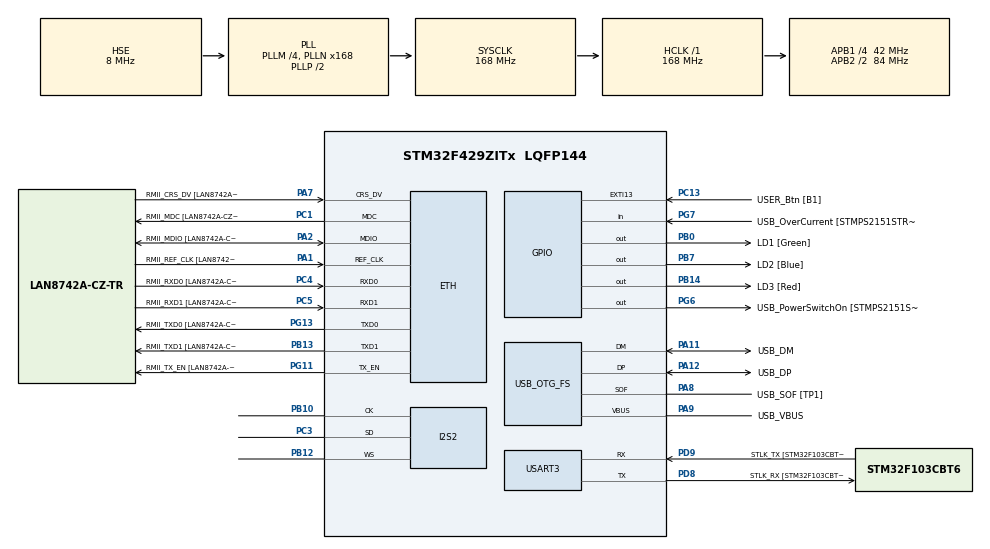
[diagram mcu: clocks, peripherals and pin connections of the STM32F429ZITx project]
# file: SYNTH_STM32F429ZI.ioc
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Dma.Request0=SPI2_TX
Dma.SPI2_TX.0.Direction=DMA_MEMORY_TO_PERIPH
Dma.SPI2_TX.0.FIFOMode=DMA_FIFOMODE_DISABLE
Dma.SPI2_TX.0.Instance=DMA1_Stream4
Dma.SPI2_TX.0.MemDataAlignment=DMA_MDATAALIGN_HALFWORD
Dma.SPI2_TX.0.MemInc=DMA_MINC_ENABLE
Dma.SPI2_TX.0.Mode=DMA_CIRCULAR
Dma.SPI2_TX.0.PeriphDataAlignment=DMA_PDATAALIGN_HALFWORD
Dma.SPI2_TX.0.PeriphInc=DMA_PINC_DISABLE
Dma.SPI2_TX.0.Priority=DMA_PRIORITY_LOW
ETH.MediaInterface=HAL_ETH_RMII_MODE
ETH.PHY_Name=LAN8742A_PHY_ADDRESS
ETH.PHY_Value=0
ETH.PhyAddress=0
FREERTOS.Tasks01=defaultTask,24,128,StartDefaultTask,Default,NULL,Dynamic,NULL,NULL
FREERTOS.configCHECK_FOR_STACK_OVERFLOW=2
FREERTOS.configENABLE_FPU=0
FREERTOS.configTOTAL_HEAP_SIZE=32768
FREERTOS.configUSE_NEWLIB_REENTRANT=1
I2S2.AudioFreq=I2S_AUDIOFREQ_44K
I2S2.DataFormat=I2S_DATAFORMAT_16B
I2S2.ErrorAudioFreq=0.26 %
I2S2.FullDuplexMode=I2S_FULLDUPLEXMODE_DISABLE
I2S2.Instance=SPI$Index
I2S2.RealAudioFreq=44.117 KHz
I2S2.VirtualMode=I2S_MODE_MASTER
Mcu.Family=STM32F4
Mcu.Name=STM32F429ZITx
Mcu.Package=LQFP144
NVIC.DMA1_Stream4_IRQn=true\:5\:0\:false\:false\:true\:true\:false\:true\:true
NVIC.EXTI15_10_IRQn=true\:5\:0\:false\:false\:true\:true\:true\:true\:true
NVIC.PriorityGroup=NVIC_PRIORITYGROUP_4
NVIC.TIM6_DAC_IRQn=true\:15\:0\:false\:false\:true\:false\:false\:true\:true
NVIC.TimeBase=TIM6_DAC_IRQn
NVIC.TimeBaseIP=TIM6
PA1.GPIO_Label=RMII_REF_CLK [LAN8742A-CZ-TR_REFCLK0]
PA1.Mode=RMII
PA1.Signal=ETH_REF_CLK
PA10.GPIO_Label=USB_ID
PA10.Signal=USB_OTG_FS_ID
PA11.GPIO_Label=USB_DM
PA11.Mode=Device_Only
PA11.Signal=USB_OTG_FS_DM
PA12.GPIO_Label=USB_DP
PA12.Mode=Device_Only
PA12.Signal=USB_OTG_FS_DP
PA13.GPIO_Label=TMS
PA13.Mode=Serial_Wire
PA13.Signal=SYS_JTMS-SWDIO
PA14.GPIO_Label=TCK
PA14.Mode=Serial_Wire
PA14.Signal=SYS_JTCK-SWCLK
PA2.GPIO_Label=RMII_MDIO [LAN8742A-CZ-TR_MDIO]
PA2.Mode=RMII
PA2.Signal=ETH_MDIO
PA7.GPIO_Label=RMII_CRS_DV [LAN8742A-CZ-TR_CRS_DV]
PA7.Mode=RMII
PA7.Signal=ETH_CRS_DV
PA8.GPIO_Label=USB_SOF [TP1]
PA8.Mode=Activate_SOF_FS
PA8.Signal=USB_OTG_FS_SOF
PA9.GPIO_Label=USB_VBUS
PA9.Mode=Activate_VBUS
PA9.Signal=USB_OTG_FS_VBUS
PB0.GPIO_Label=LD1 [Green]
PB0.Signal=GPIO_Output
PB10.Mode=Half_Duplex_Master
PB10.Signal=I2S2_CK
PB12.Mode=Half_Duplex_Master
PB12.Signal=I2S2_WS
PB13.GPIO_Label=RMII_TXD1 [LAN8742A-CZ-TR_TXD1]
PB13.Mode=RMII
PB13.Signal=ETH_TXD1
PB14.GPIO_Label=LD3 [Red]
PB14.Signal=GPIO_Output
PB7.GPIO_Label=LD2 [Blue]
PB7.Signal=GPIO_Output
PC1.GPIO_Label=RMII_MDC [LAN8742A-CZ-TR_MDC]
PC1.Mode=RMII
PC1.Signal=ETH_MDC
PC13.GPIO_Label=USER_Btn [B1]
PC13.Signal=GPXTI13
PC14/OSC32_IN.Mode=LSE-External-Oscillator
PC14/OSC32_IN.Signal=RCC_OSC32_IN
PC15/OSC32_OUT.Mode=LSE-External-Oscillator
PC15/OSC32_OUT.Signal=RCC_OSC32_OUT
PC3.Mode=Half_Duplex_Master
PC3.Signal=I2S2_SD
PC4.GPIO_Label=RMII_RXD0 [LAN8742A-CZ-TR_RXD0]
PC4.Mode=RMII
PC4.Signal=ETH_RXD0
PC5.GPIO_Label=RMII_RXD1 [LAN8742A-CZ-TR_RXD1]
PC5.Mode=RMII
PC5.Signal=ETH_RXD1
PD8.GPIO_Label=STLK_RX [STM32F103CBT6_PA3]
PD8.Mode=Asynchronous
PD8.Signal=USART3_TX
PD9.GPIO_Label=STLK_TX [STM32F103CBT6_PA2]
PD9.Mode=Asynchronous
PD9.Signal=USART3_RX
PG11.GPIO_Label=RMII_TX_EN [LAN8742A-CZ-TR_TXEN]
PG11.Mode=RMII
PG11.Signal=ETH_TX_EN
PG13.GPIO_Label=RMII_TXD0 [LAN8742A-CZ-TR_TXD0]
PG13.Mode=RMII
PG13.Signal=ETH_TXD0
PG6.GPIO_Label=USB_PowerSwitchOn [STMPS2151STR_EN]
PG6.Signal=GPIO_Output
PG7.GPIO_Label=USB_OverCurrent [STMPS2151STR_FAULT]
PG7.Signal=GPIO_Input
PH0/OSC_IN.GPIO_Label=MCO [STM32F103CBT6_PA8]
PH0/OSC_IN.Mode=HSE-External-Clock-Source
PH0/OSC_IN.Signal=RCC_OSC_IN
PH1/OSC_OUT.Mode=HSE-External-Clock-Source
PH1/OSC_OUT.Signal=RCC_OSC_OUT
ProjectManager.HeapSize=0x200
ProjectManager.StackSize=0x400
ProjectManager.TargetToolchain=STM32CubeIDE
RCC.48MHZClocksFreq_Value=48000000
RCC.AHBFreq_Value=168000000
RCC.APB1CLKDivider=RCC_HCLK_DIV4
RCC.APB1Freq_Value=42000000
RCC.APB1TimFreq_Value=84000000
RCC.APB2CLKDivider=RCC_HCLK_DIV2
RCC.APB2Freq_Value=84000000
RCC.APB2TimFreq_Value=168000000
RCC.CortexFreq_Value=168000000
RCC.HCLKFreq_Value=168000000
RCC.HSE_VALUE=8000000
RCC.HSI_VALUE=16000000
RCC.PLLM=4
RCC.PLLMUL=RCC_PLL_MUL9
RCC.PLLN=168
RCC.PLLQ=7
RCC.PRESCALERUSB=RCC_USBCLKSOURCE_PLL_DIV1_5
RCC.SYSCLKFreq_VALUE=168000000
RCC.SYSCLKSource=RCC_SYSCLKSOURCE_PLLCLK
RCC.SYSCLKSourceVirtual=RCC_SYSCLKSOURCE_PLLCLK
RCC.USBFreq_Value=48000000
RCC.VCOOutputFreq_Value=336000000
USART3.VirtualMode=VM_ASYNC
USB_OTG_FS.VirtualMode=Device_Only
VP_FREERTOS_VS_CMSIS_V2.Mode=CMSIS_V2
VP_SYS_VS_tim6.Mode=TIM6
board=NUCLEO-F429ZI

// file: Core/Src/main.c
/* USER CODE BEGIN Header */
/**
 ******************************************************************************
 * @file           : main.c
 * @brief          : Main program body
 ******************************************************************************
 * @attention
 *
 * Copyright (c) 2026 STMicroelectronics.
 * All rights reserved.
 *
 * This software is licensed under terms that can be found in the LICENSE file
 * in the root directory of this software component.
 * If no LICENSE file comes with this software, it is provided AS-IS.
 *
 ******************************************************************************
 */
/* USER CODE END Header */
#include "main.h"
#include "string.h"
#include "cmsis_os.h"

/* USER CODE BEGIN Includes */
#include "semphr.h" // 세마포어 사용을 위해 필수
#include "queue.h"  // 큐 사용을 위해 필수
#include "timers.h" // ★ 필수: 타이머 헤더 추가

#include <math.h> // sin 함수 사용
#include "FreeRTOS.h"
#include "task.h" // Native API 사용을 위해 필수
/* USER CODE END Includes */

ETH_TxPacketConfig TxConfig;
ETH_DMADescTypeDef DMARxDscrTab[ETH_RX_DESC_CNT]; /* Ethernet Rx DMA Descriptors */
ETH_DMADescTypeDef DMATxDscrTab[ETH_TX_DESC_CNT]; /* Ethernet Tx DMA Descriptors */

ETH_HandleTypeDef heth;

I2S_HandleTypeDef hi2s2;
DMA_HandleTypeDef hdma_spi2_tx;

UART_HandleTypeDef huart3;

PCD_HandleTypeDef hpcd_USB_OTG_FS;

/* Definitions for defaultTask */
osThreadId_t defaultTaskHandle;
const osThreadAttr_t defaultTask_attributes = { .name = "defaultTask",
		.stack_size = 128 * 4, .priority = (osPriority_t) osPriorityNormal, };
/* USER CODE BEGIN PV */
#define I2S_BUFFER_SIZE 100
#define PI 3.14159265f

// 전역 변수로 선언해야 Task에서도 접근 가능합니다.
int16_t sine_buffer[I2S_BUFFER_SIZE];
TaskHandle_t xAudioTaskHandle = NULL;

QueueHandle_t xLedQueue;
SemaphoreHandle_t xButtonSemaphore;
TimerHandle_t xDebounceTimer; // ★ 추가: 디바운싱 타이머 핸들

/* 큐에 넣을 메시지 구조체 정의 */
typedef struct {
	uint8_t command;    // 1: LED ON, 2: LED OFF, 3: TOGGLE
	uint32_t timestamp; // 눌린 시간
} LedMessage_t;
/* USER CODE END PV */

void SystemClock_Config(void);
static void MX_GPIO_Init(void);
static void MX_DMA_Init(void);
static void MX_ETH_Init(void);
static void MX_USART3_UART_Init(void);
static void MX_USB_OTG_FS_PCD_Init(void);
static void MX_I2S2_Init(void);
void StartDefaultTask(void *argument);

/* USER CODE BEGIN PFP */
void MyButton_TaskFunc(void *argument); // 버튼 처리할 함수
void MyLed_TaskFunc(void *argument);    // LED 켤 함수
void DebounceCallback(TimerHandle_t xTimer); // ★ 추가: 콜백 함수 선언
/* USER CODE END PFP */

/* USER CODE BEGIN 0 */
void HAL_GPIO_EXTI_Callback(uint16_t GPIO_Pin) {
	if (GPIO_Pin == GPIO_PIN_13) {
		BaseType_t xHigherPriorityTaskWoken = pdFALSE;

		// ★ 수정: 세마포어 대신 타이머를 시작(또는 리셋)시킴
		// xTimerStartFromISR은 타이머가 돌고 있으면 0초로 리셋하고,
		// 멈춰 있으면 시작시킵니다. (채터링 방지 핵심)
		if (xDebounceTimer != NULL) {
			xTimerStartFromISR(xDebounceTimer, &xHigherPriorityTaskWoken);
		}

		portYIELD_FROM_ISR(xHigherPriorityTaskWoken);
	}
}

void DebounceCallback(TimerHandle_t xTimer) {
	// (선택 사항) 정말로 눌려있는지 핀 상태를 한 번 더 확인하면 더 확실합니다.
	// Nucleo-144 F429ZI의 PC13 버튼은 누르면 High(1) 상태가 됩니다.
	if (HAL_GPIO_ReadPin(GPIOC, GPIO_PIN_13) == GPIO_PIN_SET) {
		// 50ms 뒤에도 여전히 눌려있다면 진짜 누른 것임! -> 세마포어 발사
		xSemaphoreGive(xButtonSemaphore);
	}
}

// --- 버튼 Task 구현 ---
void MyButton_TaskFunc(void *argument) {
	LedMessage_t msg; // 보낼 메시지 변수

	for (;;) // 무한 루프 (Task는 절대 리턴하면 안 됨!)
			{
		// 세마포어 대기
		if (xSemaphoreTake(xButtonSemaphore, portMAX_DELAY) == pdTRUE) {
			// 메시지 채우기
			msg.command = 3;
			msg.timestamp = xTaskGetTickCount();

			// 큐로 발송
			xQueueSend(xLedQueue, &msg, 10);
		}
	}
}

// --- LED Task 구현 ---
void MyLed_TaskFunc(void *argument) {
	LedMessage_t rcvMsg; // 받을 메시지 변수

	for (;;) {
		// 큐 대기
		if (xQueueReceive(xLedQueue, &rcvMsg, portMAX_DELAY) == pdTRUE) {
			if (rcvMsg.command == 3) {
				// LED 토글 (보드에 맞는 핀 번호 확인하세요!)
				HAL_GPIO_TogglePin(GPIOB, GPIO_PIN_7);
			}
		}
	}
}
int16_t g_sin;

void vAudioTask(void *pvParameters) {
    // 1. 사인파 데이터 생성 (1주기)
    // 버퍼 하나가 꽉 차면 사인파 한 번이 출력되도록 계산
    for (int i = 0; i < I2S_BUFFER_SIZE; i++) {
        // 16비트 오디오 범위 (-32768 ~ 32767)에 맞춰 증폭 (약간 여유 둠)
        float angle = 2.0f * PI * i / (float)I2S_BUFFER_SIZE;
        sine_buffer[i] = (int16_t)(30000.0f * sinf(angle));
    }

    // 2. I2S DMA 시작 (Circular Mode이므로 한 번만 호출하면 무한 반복)
    // &hi2s1은 main.c 상단에 정의된 핸들러 이름 확인 필요
    HAL_I2S_Transmit_DMA(&hi2s2, (uint16_t *)sine_buffer, I2S_BUFFER_SIZE);

    int debug_idx = 0;
    TickType_t xLastWakeTime;
    const TickType_t xFrequency = pdMS_TO_TICKS(10); // 10ms 주기

    xLastWakeTime = xTaskGetTickCount();

    for (;;) {
        // 3. SWV 시각화를 위한 데이터 전송
        // ITM Port 0번으로 현재 재생 중일 것으로 추정되는 데이터를 전송
        // (주의: DMA 속도가 빨라서 모든 샘플을 다 찍을 순 없고, 샘플링해서 찍음)
    	g_sin = sine_buffer[debug_idx];

        debug_idx++;
        if (debug_idx >= I2S_BUFFER_SIZE) debug_idx = 0;

        // Native API: 주기적인 딜레이 (vTaskDelayUntil)
        // 너무 빨리 데이터를 쏘면 SWV 버퍼가 넘치므로 적당히 조절
        vTaskDelayUntil(&xLastWakeTime, xFrequency);
    }
}
/* USER CODE END 0 */

int main(void) {

	/* MCU Configuration--------------------------------------------------------*/

	/* Reset of all peripherals, Initializes the Flash interface and the Systick. */
	HAL_Init();

	/* Configure the system clock */
	SystemClock_Config();

	/* Initialize all configured peripherals */
	MX_GPIO_Init();
	MX_DMA_Init();
	MX_ETH_Init();
	MX_USART3_UART_Init();
	MX_USB_OTG_FS_PCD_Init();
	MX_I2S2_Init();

	/* Init scheduler */
	osKernelInitialize();

	/* USER CODE BEGIN RTOS_SEMAPHORES */
	/* add semaphores, ... */
	xButtonSemaphore = xSemaphoreCreateBinary();
	/* USER CODE END RTOS_SEMAPHORES */

	/* USER CODE BEGIN RTOS_TIMERS */
	/* start timers, add new ones, ... */
	xDebounceTimer = xTimerCreate("DebounceTimer", pdMS_TO_TICKS(50), pdFALSE,
			0, DebounceCallback);
	/* USER CODE END RTOS_TIMERS */

	/* USER CODE BEGIN RTOS_QUEUES */
	/* add queues, ... */
	xLedQueue = xQueueCreate(10, sizeof(LedMessage_t));
	/* USER CODE END RTOS_QUEUES */

	/* Create the thread(s) */
	/* creation of defaultTask */
	defaultTaskHandle = osThreadNew(StartDefaultTask, NULL,
			&defaultTask_attributes);

	/* USER CODE BEGIN RTOS_THREADS */
	/* add threads, ... */
	xTaskCreate(vAudioTask,
			"AudioTask",
			512,
			NULL,
			1,
			&xAudioTaskHandle
			);
	// 1. 버튼 Task 등록 (우선순위 높음: AboveNormal)
	xTaskCreate(MyButton_TaskFunc,       // 실행할 함수 이름 (위에서 선언한 것)
			"ButtonTask",            // 디버깅용 이름
			256,                     // 스택 크기
			NULL,                    // 매개변수 (안 씀)
			osPriorityAboveNormal,   // ★우선순위★
			NULL                     // 핸들 (지금은 필요 없음)
			);

	// 2. LED Task 등록 (우선순위 보통: Normal)
	xTaskCreate(MyLed_TaskFunc,          // 실행할 함수 이름
			"LedTask",               // 디버깅용 이름
			256,                     // 스택 크기
			NULL,                    // 매개변수
			osPriorityNormal,        // ★우선순위★
			NULL                     // 핸들
			);
	/* USER CODE END RTOS_THREADS */

	/* Start scheduler */
	osKernelStart();

	/* We should never get here as control is now taken by the scheduler */

	/* Infinite loop */
	while (1) {

	}
}

void SystemClock_Config(void) {
	RCC_OscInitTypeDef RCC_OscInitStruct = { 0 };
	RCC_ClkInitTypeDef RCC_ClkInitStruct = { 0 };

	/** Configure the main internal regulator output voltage
	 */
	__HAL_RCC_PWR_CLK_ENABLE();
	__HAL_PWR_VOLTAGESCALING_CONFIG(PWR_REGULATOR_VOLTAGE_SCALE1);

	/** Initializes the RCC Oscillators according to the specified parameters
	 * in the RCC_OscInitTypeDef structure.
	 */
	RCC_OscInitStruct.OscillatorType = RCC_OSCILLATORTYPE_HSE;
	RCC_OscInitStruct.HSEState = RCC_HSE_BYPASS;
	RCC_OscInitStruct.PLL.PLLState = RCC_PLL_ON;
	RCC_OscInitStruct.PLL.PLLSource = RCC_PLLSOURCE_HSE;
	RCC_OscInitStruct.PLL.PLLM = 4;
	RCC_OscInitStruct.PLL.PLLN = 168;
	RCC_OscInitStruct.PLL.PLLP = RCC_PLLP_DIV2;
	RCC_OscInitStruct.PLL.PLLQ = 7;
	if (HAL_RCC_OscConfig(&RCC_OscInitStruct) != HAL_OK) {
		Error_Handler();
	}

	/** Initializes the CPU, AHB and APB buses clocks
	 */
	RCC_ClkInitStruct.ClockType = RCC_CLOCKTYPE_HCLK | RCC_CLOCKTYPE_SYSCLK
			| RCC_CLOCKTYPE_PCLK1 | RCC_CLOCKTYPE_PCLK2;
	RCC_ClkInitStruct.SYSCLKSource = RCC_SYSCLKSOURCE_PLLCLK;
	RCC_ClkInitStruct.AHBCLKDivider = RCC_SYSCLK_DIV1;
	RCC_ClkInitStruct.APB1CLKDivider = RCC_HCLK_DIV4;
	RCC_ClkInitStruct.APB2CLKDivider = RCC_HCLK_DIV2;

	if (HAL_RCC_ClockConfig(&RCC_ClkInitStruct, FLASH_LATENCY_5) != HAL_OK) {
		Error_Handler();
	}
}

static void MX_ETH_Init(void) {

	static uint8_t MACAddr[6];

	heth.Instance = ETH;
	MACAddr[0] = 0x00;
	MACAddr[1] = 0x80;
	MACAddr[2] = 0xE1;
	MACAddr[3] = 0x00;
	MACAddr[4] = 0x00;
	MACAddr[5] = 0x00;
	heth.Init.MACAddr = &MACAddr[0];
	heth.Init.MediaInterface = HAL_ETH_RMII_MODE;
	heth.Init.TxDesc = DMATxDscrTab;
	heth.Init.RxDesc = DMARxDscrTab;
	heth.Init.RxBuffLen = 1524;

	if (HAL_ETH_Init(&heth) != HAL_OK) {
		Error_Handler();
	}

	memset(&TxConfig, 0, sizeof(ETH_TxPacketConfig));
	TxConfig.Attributes = ETH_TX_PACKETS_FEATURES_CSUM
			| ETH_TX_PACKETS_FEATURES_CRCPAD;
	TxConfig.ChecksumCtrl = ETH_CHECKSUM_IPHDR_PAYLOAD_INSERT_PHDR_CALC;
	TxConfig.CRCPadCtrl = ETH_CRC_PAD_INSERT;

}

static void MX_I2S2_Init(void) {

	hi2s2.Instance = SPI2;
	hi2s2.Init.Mode = I2S_MODE_MASTER_TX;
	hi2s2.Init.Standard = I2S_STANDARD_PHILIPS;
	hi2s2.Init.DataFormat = I2S_DATAFORMAT_16B;
	hi2s2.Init.MCLKOutput = I2S_MCLKOUTPUT_DISABLE;
	hi2s2.Init.AudioFreq = I2S_AUDIOFREQ_44K;
	hi2s2.Init.CPOL = I2S_CPOL_LOW;
	hi2s2.Init.ClockSource = I2S_CLOCK_PLL;
	hi2s2.Init.FullDuplexMode = I2S_FULLDUPLEXMODE_DISABLE;
	if (HAL_I2S_Init(&hi2s2) != HAL_OK) {
		Error_Handler();
	}

}

static void MX_USART3_UART_Init(void) {

	huart3.Instance = USART3;
	huart3.Init.BaudRate = 115200;
	huart3.Init.WordLength = UART_WORDLENGTH_8B;
	huart3.Init.StopBits = UART_STOPBITS_1;
	huart3.Init.Parity = UART_PARITY_NONE;
	huart3.Init.Mode = UART_MODE_TX_RX;
	huart3.Init.HwFlowCtl = UART_HWCONTROL_NONE;
	huart3.Init.OverSampling = UART_OVERSAMPLING_16;
	if (HAL_UART_Init(&huart3) != HAL_OK) {
		Error_Handler();
	}

}

static void MX_USB_OTG_FS_PCD_Init(void) {

	hpcd_USB_OTG_FS.Instance = USB_OTG_FS;
	hpcd_USB_OTG_FS.Init.dev_endpoints = 4;
	hpcd_USB_OTG_FS.Init.speed = PCD_SPEED_FULL;
	hpcd_USB_OTG_FS.Init.dma_enable = DISABLE;
	hpcd_USB_OTG_FS.Init.phy_itface = PCD_PHY_EMBEDDED;
	hpcd_USB_OTG_FS.Init.Sof_enable = ENABLE;
	hpcd_USB_OTG_FS.Init.low_power_enable = DISABLE;
	hpcd_USB_OTG_FS.Init.lpm_enable = DISABLE;
	hpcd_USB_OTG_FS.Init.vbus_sensing_enable = ENABLE;
	hpcd_USB_OTG_FS.Init.use_dedicated_ep1 = DISABLE;
	if (HAL_PCD_Init(&hpcd_USB_OTG_FS) != HAL_OK) {
		Error_Handler();
	}

}

static void MX_DMA_Init(void) {

	/* DMA controller clock enable */
	__HAL_RCC_DMA1_CLK_ENABLE();

	/* DMA interrupt init */
	/* DMA1_Stream4_IRQn interrupt configuration */
	HAL_NVIC_SetPriority(DMA1_Stream4_IRQn, 5, 0);
	HAL_NVIC_EnableIRQ(DMA1_Stream4_IRQn);

}

static void MX_GPIO_Init(void) {
	GPIO_InitTypeDef GPIO_InitStruct = { 0 };

	/* GPIO Ports Clock Enable */
	__HAL_RCC_GPIOC_CLK_ENABLE();
	__HAL_RCC_GPIOH_CLK_ENABLE();
	__HAL_RCC_GPIOA_CLK_ENABLE();
	__HAL_RCC_GPIOB_CLK_ENABLE();
	__HAL_RCC_GPIOD_CLK_ENABLE();
	__HAL_RCC_GPIOG_CLK_ENABLE();

	/*Configure GPIO pin Output Level */
	HAL_GPIO_WritePin(GPIOB, LD1_Pin | LD3_Pin | LD2_Pin, GPIO_PIN_RESET);

	/*Configure GPIO pin Output Level */
	HAL_GPIO_WritePin(USB_PowerSwitchOn_GPIO_Port, USB_PowerSwitchOn_Pin,
			GPIO_PIN_RESET);

	/*Configure GPIO pin : USER_Btn_Pin */
	GPIO_InitStruct.Pin = USER_Btn_Pin;
	GPIO_InitStruct.Mode = GPIO_MODE_IT_RISING;
	GPIO_InitStruct.Pull = GPIO_NOPULL;
	HAL_GPIO_Init(USER_Btn_GPIO_Port, &GPIO_InitStruct);

	/*Configure GPIO pins : LD1_Pin LD3_Pin LD2_Pin */
	GPIO_InitStruct.Pin = LD1_Pin | LD3_Pin | LD2_Pin;
	GPIO_InitStruct.Mode = GPIO_MODE_OUTPUT_PP;
	GPIO_InitStruct.Pull = GPIO_NOPULL;
	GPIO_InitStruct.Speed = GPIO_SPEED_FREQ_LOW;
	HAL_GPIO_Init(GPIOB, &GPIO_InitStruct);

	/*Configure GPIO pin : USB_PowerSwitchOn_Pin */
	GPIO_InitStruct.Pin = USB_PowerSwitchOn_Pin;
	GPIO_InitStruct.Mode = GPIO_MODE_OUTPUT_PP;
	GPIO_InitStruct.Pull = GPIO_NOPULL;
	GPIO_InitStruct.Speed = GPIO_SPEED_FREQ_LOW;
	HAL_GPIO_Init(USB_PowerSwitchOn_GPIO_Port, &GPIO_InitStruct);

	/*Configure GPIO pin : USB_OverCurrent_Pin */
	GPIO_InitStruct.Pin = USB_OverCurrent_Pin;
	GPIO_InitStruct.Mode = GPIO_MODE_INPUT;
	GPIO_InitStruct.Pull = GPIO_NOPULL;
	HAL_GPIO_Init(USB_OverCurrent_GPIO_Port, &GPIO_InitStruct);

	/* EXTI interrupt init*/
	HAL_NVIC_SetPriority(EXTI15_10_IRQn, 5, 0);
	HAL_NVIC_EnableIRQ(EXTI15_10_IRQn);

}

void StartDefaultTask(void *argument) {
	/* USER CODE BEGIN 5 */
	TickType_t xLastWakeTime = xTaskGetTickCount();
	const TickType_t xFrequency = pdMS_TO_TICKS(1000); // 100ms 주기
	/* Infinite loop */
	for (;;) {
		vTaskDelayUntil(&xLastWakeTime, xFrequency); // 정확한 100ms 주기 실행
	}
	/* USER CODE END 5 */
}

void HAL_TIM_PeriodElapsedCallback(TIM_HandleTypeDef *htim) {
	if (htim->Instance == TIM6) {
		HAL_IncTick();
	}
}

void Error_Handler(void) {
	__disable_irq();
	while (1) {
	}
}
